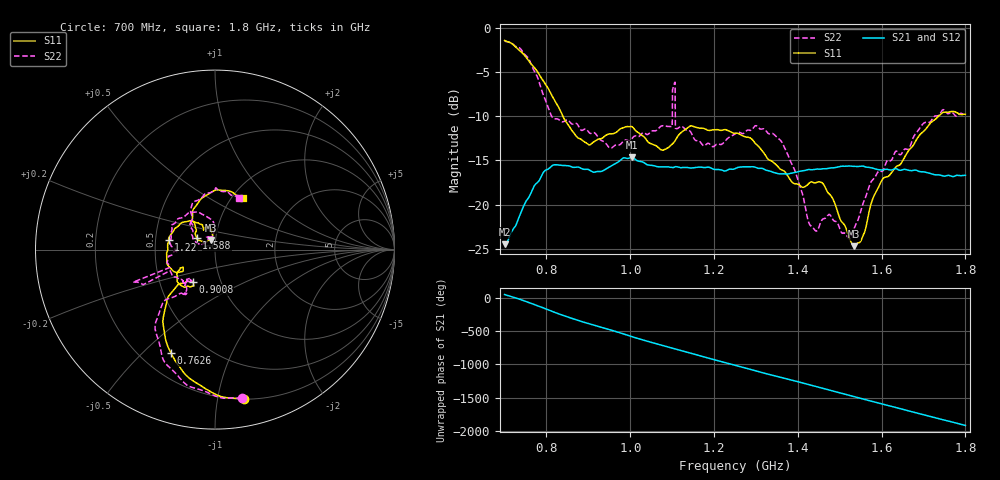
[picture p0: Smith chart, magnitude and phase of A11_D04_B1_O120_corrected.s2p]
! Created with skrf 1.9.0 (http://scikit-rf.org).
# Hz S RI R 50.0
!freq ReS11 ImS11 ReS21 ImS21 ReS12 ImS12 ReS22 ImS22
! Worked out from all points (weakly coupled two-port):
!   1601 points, 700 MHz to 1.8 GHz, reference 50 ohm
!   highest |S21| = -14.68 dB at 1.005 GHz (marker M1); lowest = -24.5 dB at 700.7 MHz (marker M2)
!   lowest |S11| = -24.7 dB at 1.535 GHz (marker M3), VSWR 1.12, Z = 47.6 + j5.16 ohm
!   |S11| at or under -10 dB: 839 MHz to 1.736 GHz (896.9 MHz wide, 69.7 % of centre)
!   |S22| runs from -23.9 to -1.5 dB; largest |S21 - S12| = 0.0034
!   S11 on the Smith chart (normalised r, x): 700 MHz: 0.20, -1.19; 762.6 MHz: 0.32, -0.61; 900.8 MHz: 0.74, -0.28; 1.22 GHz: 0.59, +0.07; 1.588 GHz: 0.81, +0.10; 1.8 GHz: 1.12, +0.72
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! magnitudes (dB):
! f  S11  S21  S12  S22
! 700 MHz  -1.4  -24.5  -24.3  -1.5
! 700.7 MHz  -1.5  -24.5  -24.2  -1.5
! 762.6 MHz  -4.1  -18.7  -18.7  -4.0
! 814.1 MHz  -7.8  -15.6  -15.6  -10.1
! 883.6 MHz  -12.7  -15.9  -15.8  -11.6
! 900.8 MHz  -13.2  -16.0  -16.1  -11.8
! 952.3 MHz  -12.0  -15.7  -15.7  -13.6
! 1.005 GHz  -11.2  -14.7  -14.8  -12.5
! 1.067 GHz  -13.6  -15.7  -15.7  -11.4
! 1.095 GHz  -13.4  -15.8  -15.8  -11.2
! 1.101 GHz  -13.1  -15.8  -15.7  -6.9
! 1.113 GHz  -12.3  -15.7  -15.8  -11.4
! 1.22 GHz  -11.6  -16.1  -16.2  -13.1
! 1.25 GHz  -11.9  -15.9  -15.9  -12.0
! 1.359 GHz  -16.0  -16.5  -16.5  -12.7
! 1.434 GHz  -17.4  -16.1  -16.0  -22.5
! 1.462 GHz  -17.7  -16.0  -15.9  -21.6
! 1.535 GHz  -24.7  -15.7  -15.7  -22.7
! 1.588 GHz  -18.4  -16.0  -16.0  -16.5
! 1.617 GHz  -16.8  -16.1  -16.0  -15.0
! 1.742 GHz  -9.7  -16.7  -16.7  -9.5
! 1.8 GHz  -9.8  -16.7  -16.7  -10.0
